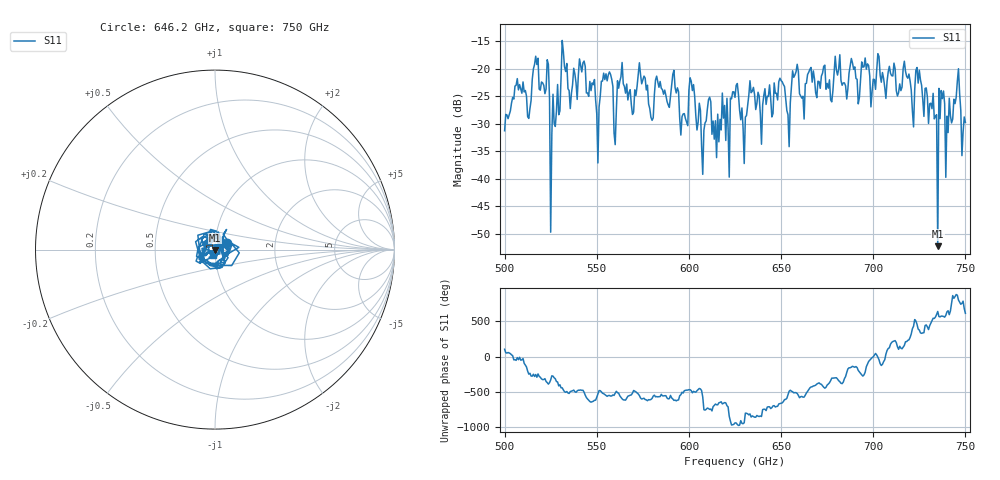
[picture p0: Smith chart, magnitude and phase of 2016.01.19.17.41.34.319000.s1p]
!Created with skrf (http://scikit-rf.org).
# GHz S RI R 50.0
!freq ReS11 ImS11
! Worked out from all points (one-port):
!   401 points, 500 GHz to 750 GHz, reference 50 ohm
!   lowest |S11| = -52.2 dB at 735 GHz (marker M1), VSWR 1.00, Z = 50 - j0.243 ohm
!   |S11| at or under -10 dB: start of sweep to end of sweep
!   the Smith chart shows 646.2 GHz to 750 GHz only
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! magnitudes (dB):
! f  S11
! 500 GHz  -31.3
! 506.9 GHz  -21.8
! 513.1 GHz  -29.0
! 516.9 GHz  -17.8
! 523.1 GHz  -18.4
! 526.2 GHz  -24.7
! 531.2 GHz  -14.9
! 542.5 GHz  -19.0
! 550.6 GHz  -37.1
! 553.8 GHz  -20.8
! 562.5 GHz  -22.3
! 593.8 GHz  -23.5
! 598.1 GHz  -29.1
! 601.9 GHz  -24.0
! 608.1 GHz  -31.2
! 625 GHz  -25.2
! 629.4 GHz  -30.7
! 633.8 GHz  -24.4
! 650 GHz  -22.2
! 653.8 GHz  -28.4
! 656.2 GHz  -20.4
! 687.5 GHz  -19.5
! 718.8 GHz  -21.7
! 735 GHz  -52.2
! 736.9 GHz  -24.0
! 740.6 GHz  -31.6
! 745.6 GHz  -22.3
! 750 GHz  -29.8
